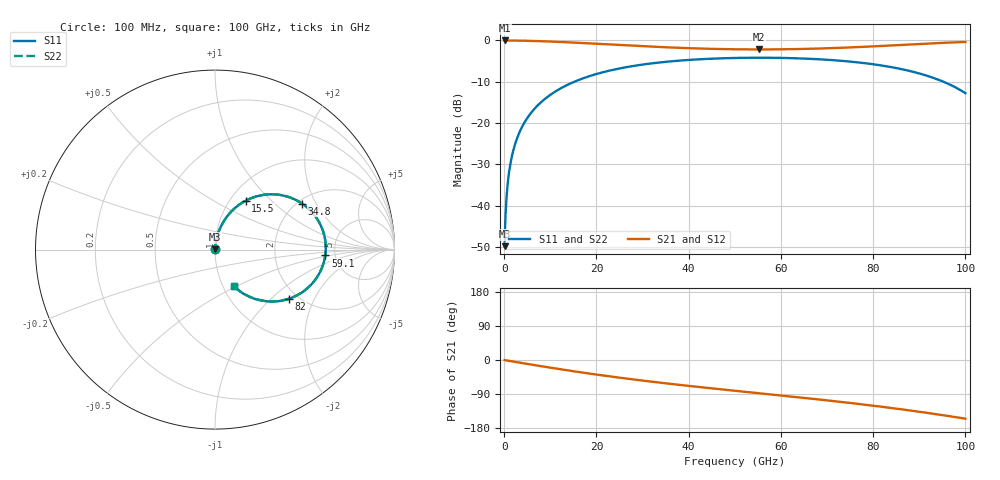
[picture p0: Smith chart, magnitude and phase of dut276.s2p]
! Touchstone file exported from HFSS 2026.1.0
!  File:  C:/ffzhzh/LocalFiles/Ansys_Project_Files/temp_train_RDL_276_1783501940_31944.aedt
!  Generated:  05:13:47 PM Jul  8, 2026
!  Design:  RDL
!  Project:  temp_train_RDL_276_1783501940_31944
! Variables:
!  h_bsmrdl = 2um
!  h_ox = 20um
!  h_rdl = 5um
!  h_sub = 80um
!  h_tmrdl = 4.91um
!  h_tsv = 80um
!  h_via = 3um
!  l_bsmrdl = 300um
!  l_sub = 924.8um
!  l_tmrdl = 524.8um
!  m_sub = 200um
!  pitch = 54.83um
!  r_tsv = 6um
!  s_tmrdl = 10um
!  w_bsmrdl = 18um
!  w_sub = 500um
!  w_tmrdl = 19.47um
!  x_tsv_center1 = 534.535um
!  x_tsv_center2 = 852.535um
!  x_tsv_center3 = 1396.805um
!  x_tsv_center4 = 1714.805um
!  x_tsv_center5 = 2259.075um
!  x_tsv_center6 = 2577.075um
# GHz S MA R 50.000000
! Terminal data exported
! Port[1] = TM_RDL1_1_T1
! Port[2] = TM_RDL1_1_T2
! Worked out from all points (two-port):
!   1000 points, 100 MHz to 100 GHz, reference 50 ohm
!   highest |S21| = -0.02 dB at 100 MHz (marker M1); lowest = -2.2 dB at 55.3 GHz (marker M2)
!   |S21| within 3 dB of the highest: start of sweep to end of sweep
!   lowest |S11| = -49.8 dB at 100 MHz (marker M3), VSWR 1.01, Z = 50.2 + j0.25 ohm
!   |S11| at or under -10 dB: start of sweep to 15.22 GHz; 95.24 GHz to end of sweep
!   |S22| runs from -49.8 to -4.2 dB; largest |S21 - S12| = 1.8e-14
!   S11 on the Smith chart (normalised r, x): 100 MHz: 1.00, +0.01; 15.5 GHz: 1.18, +0.71; 34.8 GHz: 2.11, +1.55; 59.1 GHz: 4.15, -0.43; 82 GHz: 1.80, -1.30; 100 GHz: 1.12, -0.49
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0.1  0.003251 50.1  0.9979 -0.2  0.9979 -0.2  0.003251 50.1
! Gamma 0 0 0 0
! Port Impedance 50 0 50 0
0.8  0.01919 80.7  0.9973 -1.7  0.9973 -1.7  0.01919 80.7
1.3  0.03083 82.2  0.9968 -2.7  0.9968 -2.7  0.03083 82.2
1.7  0.04013 82.3  0.9963 -3.6  0.9963 -3.6  0.04013 82.3
2.3  0.05401 81.8  0.9953 -4.8  0.9953 -4.8  0.05401 81.8
3.7  0.08588 79.5  0.9922 -7.7  0.9922 -7.7  0.08588 79.6
5.7  0.13 75.9  0.9861 -11.7  0.9861 -11.7  0.13 75.9
8.3  0.185 71.0  0.9761 -16.9  0.9761 -16.9  0.185 71.1
11.6  0.2506 65.0  0.9603 -23.3  0.9603 -23.3  0.2506 65.0
15.5  0.321 58.0  0.9384 -30.5  0.9384 -30.5  0.321 58.0
16.8  0.3427 55.7  0.9306 -32.8  0.9306 -32.8  0.3427 55.7
24.6  0.4527 42.8  0.882 -46.0  0.882 -46.0  0.4527 42.9
33.4  0.5385 29.8  0.8329 -59.2  0.8329 -59.2  0.5385 29.8
34.8  0.5488 27.8  0.8262 -61.2  0.8262 -61.2  0.5488 27.9
50.1  0.6131 8.0  0.7806 -81.3  0.7806 -81.3  0.6131 8.1
55.3  0.6173 1.6  0.7774 -87.8  0.7774 -87.8  0.6173 1.7
59.1  0.6152 -3.0  0.7791 -92.5  0.7791 -92.5  0.6152 -2.9
66.7  0.5971 -12.5  0.7925 -102.2  0.7925 -102.2  0.5972 -12.4
82  0.4954 -33.5  0.8571 -123.6  0.8571 -123.6  0.4955 -33.4
83.4  0.4809 -35.7  0.865 -125.8  0.865 -125.8  0.4809 -35.5
92.6  0.3594 -50.4  0.9194 -141.1  0.9194 -141.1  0.3595 -50.1
100  0.2301 -62.9  0.957 -154.8  0.957 -154.8  0.2302 -62.5
